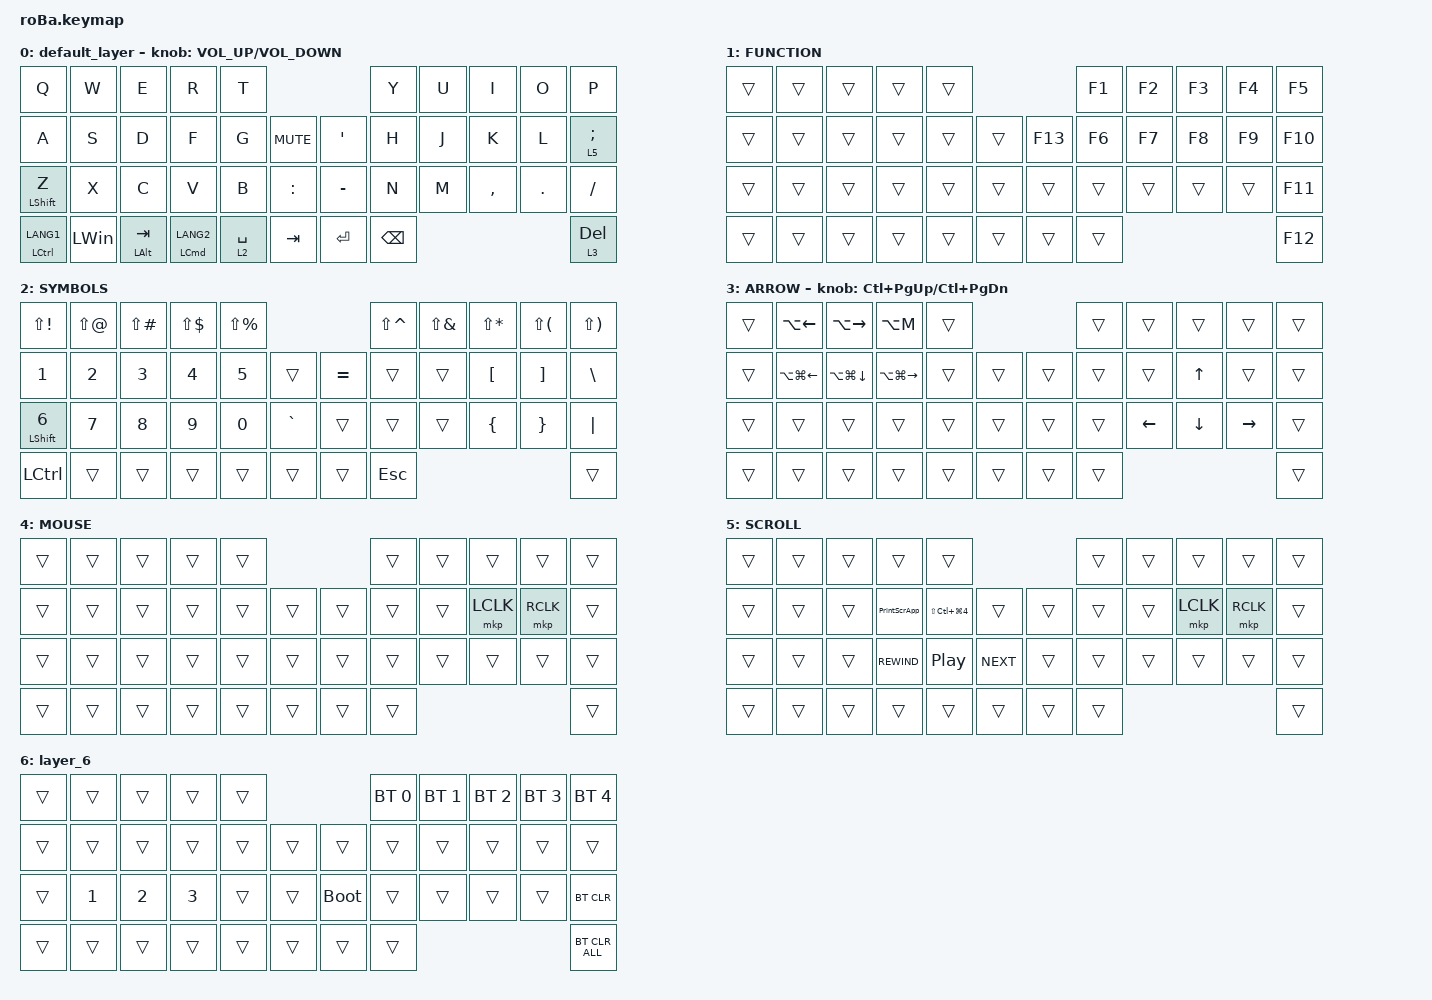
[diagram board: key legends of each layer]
#include <behaviors.dtsi>
#include <dt-bindings/zmk/bt.h>
#include <dt-bindings/zmk/keys.h>
#include <dt-bindings/zmk/pointing.h>

&mt {
    flavor = "balanced";
    quick-tap-ms = <0>;
};

&trackball {
    automouse-layer = <4>;
    scroll-layers = <5>;

    // arrows {
    //     layers = <3>;
    //     bindings =
    //         <&kp RIGHT_ARROW>,
    //         <&kp LEFT_ARROW>,
    //         <&kp UP_ARROW>,
    //         <&kp DOWN_ARROW>;
    //     tick = <10>;
    //     wait-ms = <5>;
    //     tap-ms = <5>;
    // };
};

/ {
    combos {
        compatible = "zmk,combos";

        tab {
            bindings = <&kp TAB>;
            key-positions = <0 1>;
        };

        hyphen {
            bindings = <&kp MINUS>;
            key-positions = <9 8>;
        };
    };

    macros {
        to_layer_0: to_layer_0 {
            compatible = "zmk,behavior-macro-one-param";
            #binding-cells = <1>;
            bindings = <&to 0 &macro_param_1to1 &kp MACRO_PLACEHOLDER>;
            label = "TO_LAYER_0";
        };

        PrintScrApp: PrintScrApp {
            compatible = "zmk,behavior-macro";
            #binding-cells = <0>;
            bindings = <&kp LS(LC(LG(N4))) &kp SPACE>;
            label = "PRINTSCRAPP";
        };
    };

    behaviors {
        lt_to_layer_0: lt_to_layer_0 {
            compatible = "zmk,behavior-hold-tap";
            label = "LAYER_TAP_TO_0";
            bindings = <&mo>, <&to_layer_0>;

            #binding-cells = <2>;
            tapping-term-ms = <200>;
        };
    };

    keymap {
        compatible = "zmk,keymap";

        default_layer {
            bindings = <
&kp Q             &kp W         &kp E             &kp R           &kp T                                          &kp Y          &kp U  &kp I      &kp O    &kp P
&kp A             &kp S         &kp D             &kp F           &kp G        &kp K_MUTE      &kp SINGLE_QUOTE  &kp H          &kp J  &kp K      &kp L    &lt_to_layer_0 5 SEMICOLON
&mt LEFT_SHIFT Z  &kp X         &kp C             &kp V           &kp B        &kp COLON       &kp MINUS         &kp N          &kp M  &kp COMMA  &kp DOT  &kp SLASH
&mt LCTRL LANG1   &kp LEFT_WIN  &mt LEFT_ALT TAB  &mt LCMD LANG2  &lt 2 SPACE  &kp TAB         &kp ENTER         &kp BACKSPACE                             &lt_to_layer_0 3 DELETE
            >;

            sensor-bindings = <&inc_dec_kp K_VOLUME_UP K_VOLUME_DOWN>;
        };

        FUNCTION {
            bindings = <
&trans  &trans  &trans  &trans  &trans                       &kp F1  &kp F2  &kp F3  &kp F4  &kp F5
&trans  &trans  &trans  &trans  &trans  &trans      &kp F13  &kp F6  &kp F7  &kp F8  &kp F9  &kp F10
&trans  &trans  &trans  &trans  &trans  &trans      &trans   &trans  &trans  &trans  &trans  &kp F11
&trans  &trans  &trans  &trans  &trans  &trans      &trans   &trans                          &kp F12
            >;
        };

        SYMBOLS {
            bindings = <
&kp LS(EXCL)       &kp LS(AT)  &kp LS(POUND)  &kp LS(DLLR)  &kp LS(PRCNT)                            &kp LS(CARET)  &kp LS(AMPS)  &kp LS(STAR)      &kp LS(LPAR)       &kp LS(RPAR)
&kp N1             &kp N2      &kp N3         &kp N4        &kp N5         &trans         &kp EQUAL  &trans         &trans        &kp LEFT_BRACKET  &kp RIGHT_BRACKET  &kp BACKSLASH
&mt LEFT_SHIFT N6  &kp N7      &kp N8         &kp N9        &kp N0         &kp GRAVE      &trans     &trans         &trans        &kp LEFT_BRACE    &kp RIGHT_BRACE    &kp PIPE
&kp LCTRL          &trans      &trans         &trans        &trans         &trans         &trans     &kp ESC                                                           &trans
            >;
        };

        ARROW {
            bindings = <
&trans  &kp LA(LEFT_ARROW)      &kp LA(RIGHT_ARROW)     &kp LA(M)                &trans                      &trans  &trans          &trans          &trans           &trans
&trans  &kp LA(LG(LEFT_ARROW))  &kp LA(LG(DOWN_ARROW))  &kp LA(LG(RIGHT_ARROW))  &trans  &trans      &trans  &trans  &trans          &kp UP_ARROW    &trans           &trans
&trans  &trans                  &trans                  &trans                   &trans  &trans      &trans  &trans  &kp LEFT_ARROW  &kp DOWN_ARROW  &kp RIGHT_ARROW  &trans
&trans  &trans                  &trans                  &trans                   &trans  &trans      &trans  &trans                                                   &trans
            >;

            sensor-bindings = <&inc_dec_kp LC(PAGE_UP) LC(PAGE_DOWN)>;
        };

        MOUSE {
            bindings = <
&trans  &trans  &trans  &trans  &trans                      &trans  &trans  &trans     &trans     &trans
&trans  &trans  &trans  &trans  &trans  &trans      &trans  &trans  &trans  &mkp LCLK  &mkp RCLK  &trans
&trans  &trans  &trans  &trans  &trans  &trans      &trans  &trans  &trans  &trans     &trans     &trans
&trans  &trans  &trans  &trans  &trans  &trans      &trans  &trans                                &trans
            >;
        };

        SCROLL {
            bindings = <
&trans  &trans  &trans  &trans        &trans                                      &trans  &trans  &trans     &trans     &trans
&trans  &trans  &trans  &PrintScrApp  &kp LS(LC(LG(N4)))  &trans          &trans  &trans  &trans  &mkp LCLK  &mkp RCLK  &trans
&trans  &trans  &trans  &kp C_REWIND  &kp C_PLAY_PAUSE    &kp C_NEXT      &trans  &trans  &trans  &trans     &trans     &trans
&trans  &trans  &trans  &trans        &trans              &trans          &trans  &trans                                &trans
            >;
        };

        layer_6 {
            bindings = <
&trans  &trans        &trans        &trans        &trans                           &bt BT_SEL 0  &bt BT_SEL 1  &bt BT_SEL 2  &bt BT_SEL 3  &bt BT_SEL 4
&trans  &trans        &trans        &trans        &trans  &trans      &trans       &trans        &trans        &trans        &trans        &trans
&trans  &kp NUMBER_1  &kp NUMBER_2  &kp NUMBER_3  &trans  &trans      &bootloader  &trans        &trans        &trans        &trans        &bt BT_CLR
&trans  &trans        &trans        &trans        &trans  &trans      &trans       &trans                                                  &bt BT_CLR_ALL
            >;
        };
    };
};
